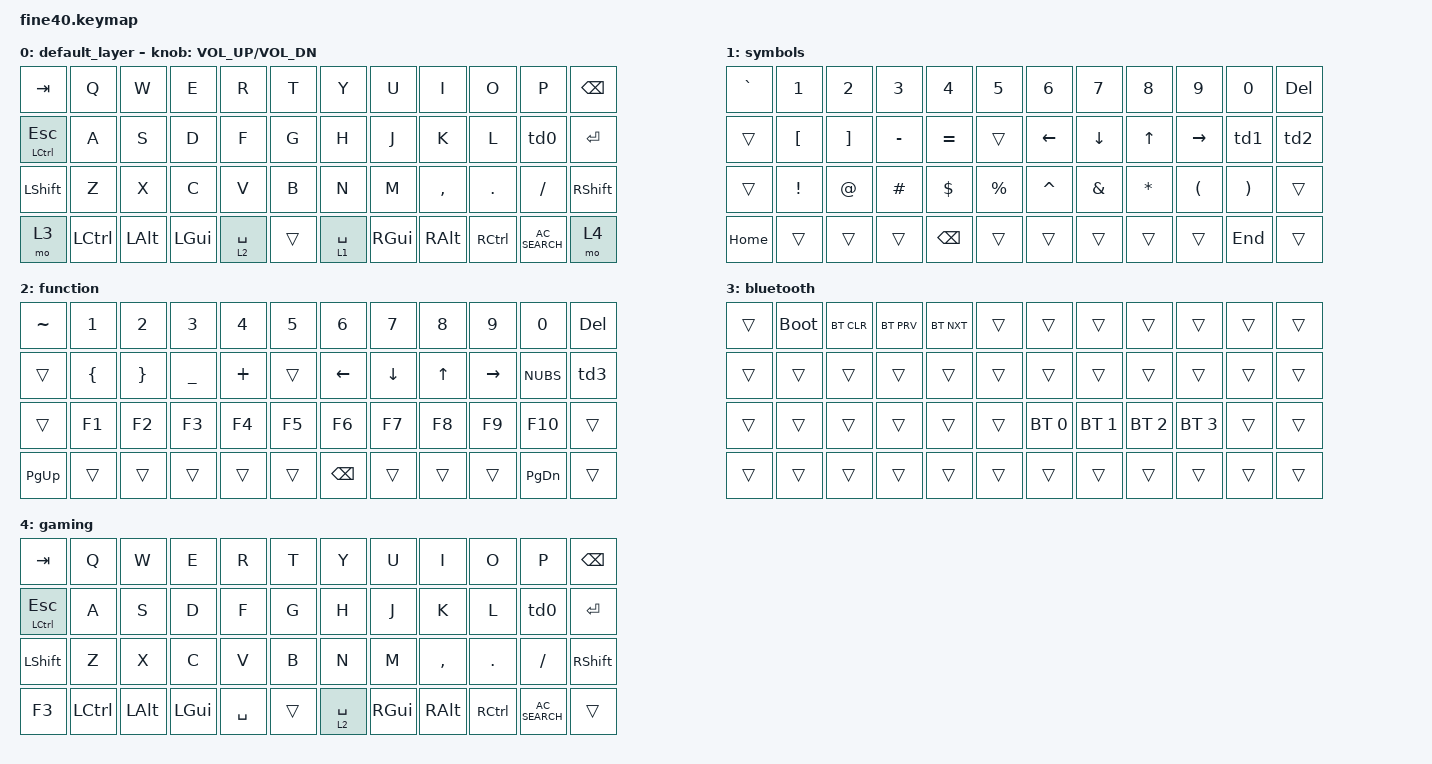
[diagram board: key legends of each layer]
/*
 * Aidan Smith (2021)
 *
 * SPDX-License-Identifier: MIT
 */

#include <behaviors.dtsi>
#include <dt-bindings/zmk/keys.h>
#include <dt-bindings/zmk/bt.h>
#include <dt-bindings/zmk/ext_power.h>

/ {

    behaviors {
    td0: tap_dance_0 {
            compatible = "zmk,behavior-tap-dance";
            #binding-cells = <0>;
            tapping-term-ms = <200>;
            bindings = <&kp SEMI>, <&kp COLON>;
        };
    td1: tap_dance_1 {
            compatible = "zmk,behavior-tap-dance";
            #binding-cells = <0>;
            tapping-term-ms = <200>;
            bindings = <&kp SQT>, <&kp DQT>;
        };
    td2: tap_dance_2 {
            compatible = "zmk,behavior-tap-dance";
            #binding-cells = <0>;
            tapping-term-ms = <200>;
            bindings = <&kp BACKSLASH>, <&kp PIPE>;
        };
    td3: tap_dance_3 {
            compatible = "zmk,behavior-tap-dance";
            #binding-cells = <0>;
            tapping-term-ms = <200>;
            bindings = <&kp GRAVE>, <&kp TILDE>;
        };
    };

	keymap {
		compatible = "zmk,keymap";

		default_layer {

			bindings = <
//    ┌─────────────┬────────┬──────┬──────┬──────────┬─────┬──────────┬──────┬──────┬────────┬───────────────┬──────┐
//    │     tab     │   Q    │  W   │  E   │    R     │  T  │    Y     │  U   │  I   │   O    │       P       │ bspc │
//    ├─────────────┼────────┼──────┼──────┼──────────┼─────┼──────────┼──────┼──────┼────────┼───────────────┼──────┤
//    │ mt lctl esc │   A    │  S   │  D   │    F     │  G  │    H     │  J   │  K   │   L    │     &td0      │ ent  │
//    ├─────────────┼────────┼──────┼──────┼──────────┼─────┼──────────┼──────┼──────┼────────┼───────────────┼──────┤
//    │    lsft     │   Z    │  X   │  C   │    V     │  B  │    N     │  M   │  ,   │   .    │       /       │ rsft │
//    ├─────────────┼────────┼──────┼──────┼──────────┼─────┼──────────┼──────┼──────┼────────┼───────────────┼──────┤
//    │    mo 3     │ lctlTL │ lalt │ lgui │ lt 2 spc │     │ lt 1 spc │ rgui │ ralt │ rctlTL │ C_AC_SEArctlH │ mo 4 │
//    └─────────────┴────────┴──────┴──────┴──────────┴─────┴──────────┴──────┴──────┴────────┴───────────────┴──────┘
  &kp TAB         &kp Q      &kp W      &kp E      &kp R         &kp T    &kp Y         &kp U      &kp I       &kp O      &kp P             &kp BSPC
  &mt LCTRL ESC   &kp A      &kp S      &kp D      &kp F         &kp G    &kp H         &kp J      &kp K       &kp L      &td0              &kp RET
  &kp LSHFT       &kp Z      &kp X      &kp C      &kp V         &kp B    &kp N         &kp M      &kp COMMA   &kp DOT    &kp FSLH          &kp RSHFT
  &mo 3           &kp LCTL   &kp LALT   &kp LGUI   &lt 2 SPACE   &trans   &lt 1 SPACE   &kp RGUI   &kp RALT    &kp RCTL   &kp C_AC_SEARCH   &mo 4
			>;

			sensor-bindings = <&inc_dec_kp C_VOL_UP C_VOL_DN>;
		};

		symbols {
			bindings = <
//    ┌──────┬─────┬─────┬─────┬──────┬─────┬──────┬──────┬─────┬──────┬──────┬──────┐
//    │  `   │  1  │  2  │  3  │  4   │  5  │  6   │  7   │  8  │  9   │  0   │ del  │
//    ├──────┼─────┼─────┼─────┼──────┼─────┼──────┼──────┼─────┼──────┼──────┼──────┤
//    │      │  [  │  ]  │  -  │  =   │     │ left │ down │ up  │ rght │ &td1 │ &td2 │
//    ├──────┼─────┼─────┼─────┼──────┼─────┼──────┼──────┼─────┼──────┼──────┼──────┤
//    │      │  !  │  @  │  #  │  $   │  %  │  ^   │  &   │  *  │  (   │  )   │      │
//    ├──────┼─────┼─────┼─────┼──────┼─────┼──────┼──────┼─────┼──────┼──────┼──────┤
//    │ home │     │     │     │ bspc │     │      │      │     │      │ end  │      │
//    └──────┴─────┴─────┴─────┴──────┴─────┴──────┴──────┴─────┴──────┴──────┴──────┘
  &kp GRAVE   &kp N1     &kp N2     &kp N3      &kp N4      &kp N5      &kp N6      &kp N7     &kp N8      &kp N9      &kp N0     &kp DEL
  &trans      &kp LBKT   &kp RBKT   &kp MINUS   &kp EQUAL   &trans      &kp LEFT    &kp DOWN   &kp UP      &kp RIGHT   &td1       &td2
  &trans      &kp EXCL   &kp AT     &kp HASH    &kp DLLR    &kp PRCNT   &kp CARET   &kp AMPS   &kp ASTRK   &kp LPAR    &kp RPAR   &trans
  &kp HOME    &trans     &trans     &trans      &kp BSPC    &trans      &trans      &trans     &trans      &trans      &kp END    &trans
			>;
		};

		function {
			bindings = <
//    ┌──────┬─────┬─────┬─────┬─────┬─────┬──────┬──────┬─────┬──────┬──────┬──────┐
//    │  ~   │  1  │  2  │  3  │  4  │  5  │  6   │  7   │  8  │  9   │  0   │ del  │
//    ├──────┼─────┼─────┼─────┼─────┼─────┼──────┼──────┼─────┼──────┼──────┼──────┤
//    │      │  {  │  }  │  _  │  +  │     │ left │ down │ up  │ rght │ iso\ │ &td3 │
//    ├──────┼─────┼─────┼─────┼─────┼─────┼──────┼──────┼─────┼──────┼──────┼──────┤
//    │      │ f1  │ f2  │ f3  │ f4  │ f5  │  f6  │  f7  │ f8  │  f9  │ f10  │      │
//    ├──────┼─────┼─────┼─────┼─────┼─────┼──────┼──────┼─────┼──────┼──────┼──────┤
//    │ pgup │     │     │     │     │     │ bspc │      │     │      │ pgdn │      │
//    └──────┴─────┴─────┴─────┴─────┴─────┴──────┴──────┴─────┴──────┴──────┴──────┘
  &kp TILDE   &kp N1     &kp N2     &kp N3      &kp N4     &kp N5   &kp N6     &kp N7     &kp N8   &kp N9      &kp N0      &kp DEL
  &trans      &kp LBRC   &kp RBRC   &kp UNDER   &kp PLUS   &trans   &kp LEFT   &kp DOWN   &kp UP   &kp RIGHT   &kp NUBS    &td3
  &trans      &kp F1     &kp F2     &kp F3      &kp F4     &kp F5   &kp F6     &kp F7     &kp F8   &kp F9      &kp F10     &trans
  &kp PG_UP   &trans     &trans     &trans      &trans     &trans   &kp BSPC   &trans     &trans   &trans      &kp PG_DN   &trans
			>;
		};

		bluetooth {
			bindings = <
//    ┌─────┬──────┬────────┬────────┬────────┬─────┬──────────┬──────────┬──────────┬──────────┬─────┬─────┐
//    │     │ boot │ bt_clr │ bt_prv │ bt_nxt │     │          │          │          │          │     │     │
//    ├─────┼──────┼────────┼────────┼────────┼─────┼──────────┼──────────┼──────────┼──────────┼─────┼─────┤
//    │     │      │        │        │        │     │          │          │          │          │     │     │
//    ├─────┼──────┼────────┼────────┼────────┼─────┼──────────┼──────────┼──────────┼──────────┼─────┼─────┤
//    │     │      │        │        │        │     │ bt_sel 0 │ bt_sel 1 │ bt_sel 2 │ bt_sel 3 │     │     │
//    ├─────┼──────┼────────┼────────┼────────┼─────┼──────────┼──────────┼──────────┼──────────┼─────┼─────┤
//    │     │      │        │        │        │     │          │          │          │          │     │     │
//    └─────┴──────┴────────┴────────┴────────┴─────┴──────────┴──────────┴──────────┴──────────┴─────┴─────┘
  &trans   &bootloader   &bt BT_CLR   &bt BT_PRV   &bt BT_NXT   &trans   &trans         &trans         &trans         &trans         &trans   &trans
  &trans   &trans        &trans       &trans       &trans       &trans   &trans         &trans         &trans         &trans         &trans   &trans
  &trans   &trans        &trans       &trans       &trans       &trans   &bt BT_SEL 0   &bt BT_SEL 1   &bt BT_SEL 2   &bt BT_SEL 3   &trans   &trans
  &trans   &trans        &trans       &trans       &trans       &trans   &trans         &trans         &trans         &trans         &trans   &trans
			>;
		};

		gaming {
			bindings = <
//    ┌─────────────┬────────┬──────┬──────┬─────┬─────┬──────────┬──────┬──────┬────────┬───────────────┬──────┐
//    │     tab     │   Q    │  W   │  E   │  R  │  T  │    Y     │  U   │  I   │   O    │       P       │ bspc │
//    ├─────────────┼────────┼──────┼──────┼─────┼─────┼──────────┼──────┼──────┼────────┼───────────────┼──────┤
//    │ mt lctl esc │   A    │  S   │  D   │  F  │  G  │    H     │  J   │  K   │   L    │     &td0      │ ent  │
//    ├─────────────┼────────┼──────┼──────┼─────┼─────┼──────────┼──────┼──────┼────────┼───────────────┼──────┤
//    │    lsft     │   Z    │  X   │  C   │  V  │  B  │    N     │  M   │  ,   │   .    │       /       │ rsft │
//    ├─────────────┼────────┼──────┼──────┼─────┼─────┼──────────┼──────┼──────┼────────┼───────────────┼──────┤
//    │     f3      │ lctlTL │ lalt │ lgui │ spc │     │ lt 2 spc │ rgui │ ralt │ rctlTL │ C_AC_SEArctlH │      │
//    └─────────────┴────────┴──────┴──────┴─────┴─────┴──────────┴──────┴──────┴────────┴───────────────┴──────┘
  &kp TAB         &kp Q      &kp W      &kp E      &kp R       &kp T    &kp Y         &kp U      &kp I       &kp O      &kp P             &kp BSPC
  &mt LCTRL ESC   &kp A      &kp S      &kp D      &kp F       &kp G    &kp H         &kp J      &kp K       &kp L      &td0              &kp RET
  &kp LSHFT       &kp Z      &kp X      &kp C      &kp V       &kp B    &kp N         &kp M      &kp COMMA   &kp DOT    &kp FSLH          &kp RSHFT
  &kp F3          &kp LCTL   &kp LALT   &kp LGUI   &kp SPACE   &trans   &lt 2 SPACE   &kp RGUI   &kp RALT    &kp RCTL   &kp C_AC_SEARCH   &trans
			>;
		};
	};
};
